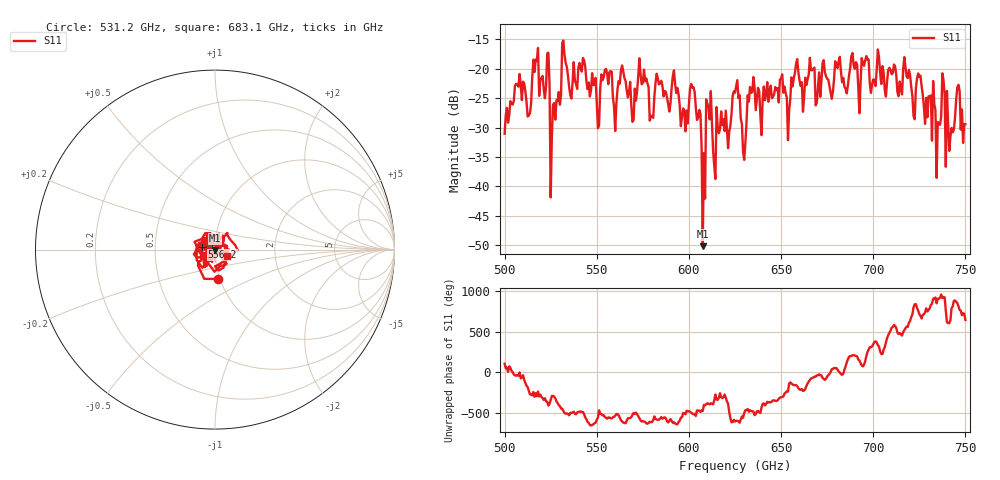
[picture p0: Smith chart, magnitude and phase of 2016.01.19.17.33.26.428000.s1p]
!Created with skrf (http://scikit-rf.org).
# GHz S RI R 50.0
!freq ReS11 ImS11
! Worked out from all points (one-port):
!   401 points, 500 GHz to 750 GHz, reference 50 ohm
!   lowest |S11| = -50.2 dB at 607.5 GHz (marker M1), VSWR 1.01, Z = 49.9 - j0.287 ohm
!   |S11| at or under -10 dB: start of sweep to end of sweep
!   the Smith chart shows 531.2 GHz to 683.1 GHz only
!   S11 on the Smith chart (normalised r, x): 531.2 GHz: 0.98, -0.33; 556.2 GHz: 0.86, +0.03; 683.1 GHz: 1.14, -0.08
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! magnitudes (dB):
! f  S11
! 500 GHz  -31.1
! 506.9 GHz  -22.6
! 513.1 GHz  -28.0
! 516.9 GHz  -18.5
! 523.1 GHz  -17.4
! 526.2 GHz  -26.2
! 531.2 GHz  -15.7
! 550.6 GHz  -30.1
! 556.2 GHz  -22.6
! 560 GHz  -30.6
! 562.5 GHz  -22.5
! 593.8 GHz  -23.3
! 601.9 GHz  -23.2
! 607.5 GHz  -50.2
! 610.6 GHz  -26.5
! 614.4 GHz  -38.8
! 625 GHz  -24.1
! 630 GHz  -35.5
! 634.4 GHz  -23.9
! 656.2 GHz  -23.0
! 683.1 GHz  -22.3
! 687.5 GHz  -19.9
! 718.8 GHz  -21.6
! 735.6 GHz  -29.5
! 737.5 GHz  -20.8
! 740.6 GHz  -29.3
! 745.6 GHz  -23.2
! 750 GHz  -29.4
